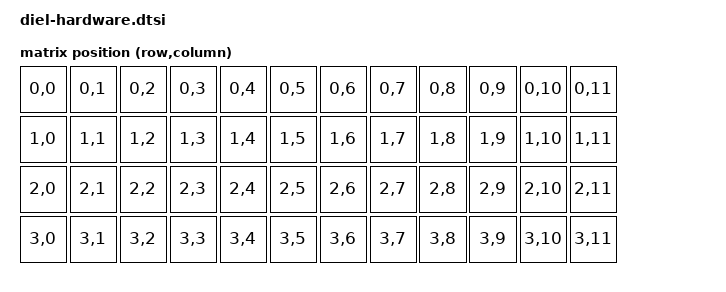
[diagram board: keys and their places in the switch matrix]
/* DIEL pins, ADC inputs, MUX order and UF2 flash layout. */
#include <nordic/nrf52840_qiaa.dtsi>
#include <common/nordic/nrf52840_uf2_boot_mode.dtsi>
#include <dt-bindings/zmk/matrix_transform.h>

/ {
    chosen {
        zephyr,sram = &sram0;
        zephyr,flash = &flash0;
        zephyr,code-partition = &code_partition;
        zmk,kscan = &ec_scan;
        zmk,battery = &alkaline_battery;
    };

    ec_scan: ec_scan {
        compatible = "prec,ec-kscan";
        wakeup-source;
        row-pins = <4 5 6 7>;
        mux-select-pins = <8 27 12>;
        mux-enable-pins = <15 16>;
        column-channels = <3 0 1 2 5 4 3 0 1 2 5 4>;
        discharge-pin = <41>; /* P1.09: absolute Nordic GPIO number */
        amplifier-pin = <14>;
        battery-enable-pin = <17>;
        wake-pin = <45>; /* P1.13 */
        ec-analog-input = <7>;
        battery-analog-input = <5>;
    };

    alkaline_battery: battery {
        compatible = "prec,alkaline-battery";
    };

    default_transform: matrix_transform {
        compatible = "zmk,matrix-transform";
        rows = <4>;
        columns = <12>;
        map = <
            RC(0,0) RC(0,1) RC(0,2) RC(0,3) RC(0,4) RC(0,5) RC(0,6) RC(0,7) RC(0,8) RC(0,9) RC(0,10) RC(0,11)
            RC(1,0) RC(1,1) RC(1,2) RC(1,3) RC(1,4) RC(1,5) RC(1,6) RC(1,7) RC(1,8) RC(1,9) RC(1,10) RC(1,11)
            RC(2,0) RC(2,1) RC(2,2) RC(2,3) RC(2,4) RC(2,5) RC(2,6) RC(2,7) RC(2,8) RC(2,9) RC(2,10) RC(2,11)
            RC(3,0) RC(3,1) RC(3,2) RC(3,3) RC(3,4) RC(3,5) RC(3,6) RC(3,7) RC(3,8) RC(3,9) RC(3,10) RC(3,11)
        >;
    };
};

&gpio0 { status = "okay"; };
&gpio1 { status = "okay"; };
&gpiote { status = "okay"; };

/* These peripherals are owned exclusively by the EC driver, not Zephyr ADC/counter. */
&adc { status = "disabled"; };
&timer2 { status = "disabled"; };

&reg1 { regulator-initial-mode = <NRF5X_REG_MODE_DCDC>; };

/* P0.18 is the SW301 reset button. The SoC startup code writes UICR once if needed. */
&uicr { gpio-as-nreset; };

zephyr_udc0: &usbd { status = "okay"; };

&flash0 {
    partitions {
        compatible = "fixed-partitions";
        #address-cells = <1>;
        #size-cells = <1>;
        sd_partition: partition@0 { reg = <0x0 0x26000>; };
        code_partition: partition@26000 { reg = <0x26000 0xc6000>; };
        storage_partition: partition@ec000 { reg = <0xec000 0x8000>; };
        boot_partition: partition@f4000 { reg = <0xf4000 0xc000>; };
    };
};
